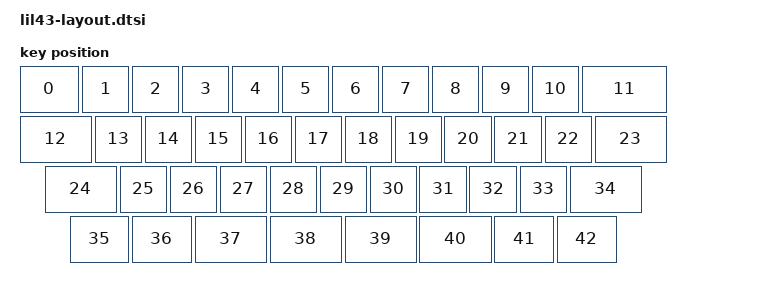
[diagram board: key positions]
#include <physical_layouts.dtsi>

/ {
    physical_layout_0: physical_layout_0 {
        compatible = "zmk,physical-layout";
        display-name = "Default Layout";
keys  //                     w   h    x    y     rot    rx    ry
            = <&key_physical_attrs 125 100    0    0       0     0     0>
            , <&key_physical_attrs 100 100  125    0       0     0     0>
            , <&key_physical_attrs 100 100  225    0       0     0     0>
            , <&key_physical_attrs 100 100  325    0       0     0     0>
            , <&key_physical_attrs 100 100  425    0       0     0     0>
            , <&key_physical_attrs 100 100  525    0       0     0     0>
            , <&key_physical_attrs 100 100  625    0       0     0     0>
            , <&key_physical_attrs 100 100  725    0       0     0     0>
            , <&key_physical_attrs 100 100  825    0       0     0     0>
            , <&key_physical_attrs 100 100  925    0       0     0     0>
            , <&key_physical_attrs 100 100  1025    0       0     0     0>
            , <&key_physical_attrs 175 100  1125    0       0     0     0>
            
            , <&key_physical_attrs 150 100    0  100       0     0     0>
            , <&key_physical_attrs 100 100  150  100       0     0     0>
            , <&key_physical_attrs 100 100  250  100       0     0     0>
            , <&key_physical_attrs 100 100  350  100       0     0     0>
            , <&key_physical_attrs 100 100  450  100       0     0     0>
            , <&key_physical_attrs 100 100  550  100       0     0     0>
            , <&key_physical_attrs 100 100  650  100       0     0     0>
            , <&key_physical_attrs 100 100  750  100       0     0     0>
            , <&key_physical_attrs 100 100  850  100       0     0     0>
            , <&key_physical_attrs 100 100  950  100       0     0     0>
            , <&key_physical_attrs 100 100  1050  100       0     0     0>
            , <&key_physical_attrs 150 100  1150  100       0     0     0>
            
            , <&key_physical_attrs 150 100   50  200       0     0     0>
            , <&key_physical_attrs 100 100  200  200       0     0     0>
            , <&key_physical_attrs 100 100  300  200       0     0     0>
            , <&key_physical_attrs 100 100  400  200       0     0     0>
            , <&key_physical_attrs 100 100  500  200       0     0     0>
            , <&key_physical_attrs 100 100  600  200       0     0     0>
            , <&key_physical_attrs 100 100  700  200       0     0     0>
            , <&key_physical_attrs 100 100  800  200       0     0     0>
            , <&key_physical_attrs 100 100  900  200       0     0     0>
            , <&key_physical_attrs 100 100  1000  200       0     0     0>
            , <&key_physical_attrs 150 100  1100  200       0     0     0>

            , <&key_physical_attrs 125 100  100  300       0     0     0>
            , <&key_physical_attrs 125 100  225  300       0     0     0>
            , <&key_physical_attrs 150 100  350  300       0     0     0>
            , <&key_physical_attrs 150 100  500  300       0     0     0>
            , <&key_physical_attrs 150 100  650  300       0     0     0>
            , <&key_physical_attrs 150 100  800  300       0     0     0>
            , <&key_physical_attrs 125 100  950  300       0     0     0>
            , <&key_physical_attrs 125 100  1075 300       0     0     0>
            ;
    };
};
